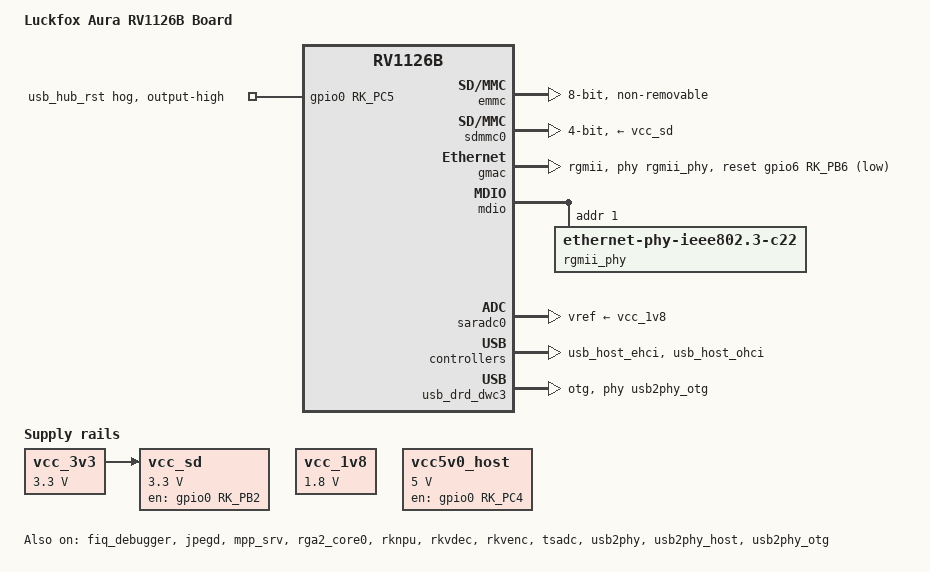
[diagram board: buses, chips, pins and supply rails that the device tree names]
// SPDX-License-Identifier: (GPL-2.0+ OR MIT)
/*
 * Luckfox Aura (RV1126B) 开发板
 *
 * 用途:验证 RV1126B 软件栈,不是出货版型。
 * 依据:Luckfox 公开的原理图(外设页),SoC 与电源页官方未公开,故电源树按固定电压写。
 * 本文件不 include EVB dtsi:EVB 带 RK801 PMIC 与摄像头/显示外设,本板没有。
 *
 * 已开:串口/eMMC/SD/网口/USB,及 SoC 内部的 NPU/MPP 编解码/JPEG/RGA/温控;
 * 未配:WiFi(SDMMC1)、音频、MIPI CSI/DSI、PoE,CPU/NPU 调频(缺电源页,不知调压方式)。
 * 板载 eMMC 64GB(官网规格,画在未公开的 SoC 页上)为系统盘,MicroSD 为扩展;无 SATA、无 USB3。
 */

/dts-v1/;

#include "rv1126b.dtsi"

/ {
	model = "Luckfox Aura RV1126B Board";
	compatible = "luckfox,aura", "rockchip,rv1126b";

	chosen {
		bootargs = "earlycon=uart8250,mmio32,0x20810000 console=ttyFIQ0 rw root=PARTUUID=614e0000-0000 rootfstype=ext4 rootwait coherent_pool=32K";
	};

	vcc_3v3: vcc-3v3-regulator {
		compatible = "regulator-fixed";
		regulator-name = "vcc_3v3";
		regulator-always-on;
		regulator-boot-on;
		regulator-min-microvolt = <3300000>;
		regulator-max-microvolt = <3300000>;
	};

	vcc_1v8: vcc-1v8-regulator {
		compatible = "regulator-fixed";
		regulator-name = "vcc_1v8";
		regulator-always-on;
		regulator-boot-on;
		regulator-min-microvolt = <1800000>;
		regulator-max-microvolt = <1800000>;
	};

	/* SDMMC0_PWREN_H(GPIO0_B2)经 PMOS 给卡槽供 VCC_SD_S0 */
	vcc_sd: vcc-sd-regulator {
		compatible = "regulator-fixed";
		regulator-name = "vcc_sd";
		gpio = <&gpio0 RK_PB2 GPIO_ACTIVE_HIGH>;
		enable-active-high;
		regulator-min-microvolt = <3300000>;
		regulator-max-microvolt = <3300000>;
		vin-supply = <&vcc_3v3>;
	};

	/* USB2_PWR(GPIO0_C4)使能 DIO7003 负载开关,给 CH334F hub 的下游口供 5V */
	vcc5v0_host: vcc5v0-host-regulator {
		compatible = "regulator-fixed";
		regulator-name = "vcc5v0_host";
		gpio = <&gpio0 RK_PC4 GPIO_ACTIVE_HIGH>;
		enable-active-high;
		regulator-min-microvolt = <5000000>;
		regulator-max-microvolt = <5000000>;
	};
};

/* CH334F hub 复位(GPIO0_C5),拉高解复位。极性待实测确认 */
&gpio0 {
	usb_hub_rst_hog {
		gpio-hog;
		gpios = <RK_PC5 GPIO_ACTIVE_HIGH>;
		output-high;
		line-name = "usb_hub_rst";
	};
};

/* 照搬官方 EVB1 V10;eMMC 所在页未公开,IO 电压未知,HS200 调谐失败时先去掉 mmc-hs200-1_8v */
&emmc {
	bus-width = <8>;
	cap-mmc-highspeed;
	non-removable;
	mmc-hs200-1_8v;
	rockchip,default-sample-phase = <90>;
	no-sdio;
	no-sd;
	status = "okay";
};

&fiq_debugger {
	pinctrl-names = "default";
	pinctrl-0 = <&uart0m2_xfer_pins>;
	status = "okay";
};

/* 调试口在 GPIO0_B3/B4(uart0 的 m2 组);SoC 默认的 m0 组在 GPIO2_A0/A1,与 SD 卡冲突 */
&uart0 {
	pinctrl-0 = <&uart0m2_xfer_pins>;
};

&sdmmc0 {
	bus-width = <4>;
	cap-sd-highspeed;
	disable-wp;
	no-sdio;
	no-mmc;
	/* 卡槽 IO 固定 3.3V,无 1.8V 切换,故不开 UHS */
	max-frequency = <50000000>;
	vmmc-supply = <&vcc_sd>;
	pinctrl-names = "default";
	pinctrl-0 = <&sdmmc0_clk_pins &sdmmc0_cmd_pins &sdmmc0_bus4_pins &sdmmc0_detn_pins>;
	status = "okay";
};

&gmac {
	phy-mode = "rgmii";
	/* 25MHz 由 SoC 输出给 PHY(原理图 ETH_CLK1_25M_OUT_M0 → PHY XTAL_IN) */
	clock_in_out = "output";
	assigned-clocks = <&cru CLK_MAC_OUT2IO>;
	assigned-clock-rates = <25000000>;

	snps,reset-gpio = <&gpio6 RK_PB6 GPIO_ACTIVE_LOW>;
	snps,reset-active-low;
	snps,reset-delays-us = <0 20000 100000>;

	pinctrl-names = "default";
	pinctrl-0 = <&ethm0_miim_pins
		     &ethm0_tx_bus2_pins
		     &ethm0_rx_bus2_pins
		     &ethm0_rgmii_clk_pins
		     &ethm0_rgmii_bus_pins
		     &eth_clk_25mm0_out_pins>;

	/*
	 * phy_lb_scan 千兆环回扫描实测:主窗口 RX 0x18~0x2d、TX 0x19~0x66,取几何中心。
	 * 不用工具打印的推荐值 0x46/0x38:它对所有通过点求平均,本板通过区是两块分开的岛
	 * (另一块在 RX 0x44 以上、TX 两端绕回),平均值落在空白区,实测不通过。
	 * 原先借用的 EVB 值 0x36/0x2c 的 RX 贴着窗口下沿,千兆大包丢包 25%
	 */
	tx_delay = <0x3f>;
	rx_delay = <0x22>;

	phy-handle = <&rgmii_phy>;
	status = "okay";
};

&mdio {
	/*
	 * 实测 PHY ID 0x7b744412,寄存器布局与 RTL8211F 兼容(31 号页寄存器读出 0xa42),
	 * 内核与官方 SDK 均无专用驱动,走 Generic PHY。地址由 strap 定,原理图标注默认 3'b001。
	 * clocks 必须给:PHY 的 25MHz 由 SoC 输出,没人引用这个时钟会在启动后期被关掉,
	 * 表现为 PHY ID 能读(MDIO 不依赖它)但永远 NO-CARRIER、收不到对端协商
	 */
	rgmii_phy: ethernet-phy@1 {
		compatible = "ethernet-phy-ieee802.3-c22";
		reg = <1>;
		clocks = <&cru CLK_MAC_OUT2IO>;
	};
};

&saradc0 {
	vref-supply = <&vcc_1v8>;
	status = "okay";
};

/* 以下为 SoC 内部的编解码、NPU、RGA 与温控,照官方 EVB 开启,不依赖板级外设 */
&jpegd {
	status = "okay";
};

&mpp_srv {
	status = "okay";
};

&rga2_core0 {
	status = "okay";
};

&rga2_core0_mmu {
	status = "okay";
};

/*
 * EVB 的 rknpu-supply 来自 RK801 PMIC,本板没有 PMIC 且电源页未公开,故不设。
 * 驱动按可选电源处理(缺失时 vdd 置空继续),代价是没有 NPU 调频
 */
&rknpu {
	status = "okay";
};

&rknpu_mmu {
	status = "okay";
};

&rkvdec {
	status = "okay";
};

&rkvdec_mmu {
	status = "okay";
};

&rkvenc {
	status = "okay";
};

&rkvenc_mmu {
	status = "okay";
};

/* 过温保护 hw-tshut-mode 为 CRU 复位(SoC dtsi 默认),不走 GPIO,不依赖 PMIC */
&tsadc {
	status = "okay";
};

&usb2phy {
	status = "okay";
};

&usb2phy_host {
	phy-supply = <&vcc5v0_host>;
	status = "okay";
};

&usb2phy_otg {
	status = "okay";
};

&usb_host_ehci {
	status = "okay";
};

&usb_host_ohci {
	status = "okay";
};

/* USB-C OTG;板上未引出 USB3,限高速。SoC 默认同时依赖 usb3phy,不去掉会一直 deferred probe */
&usb_drd_dwc3 {
	dr_mode = "otg";
	phys = <&usb2phy_otg>;
	phy-names = "usb2-phy";
	maximum-speed = "high-speed";
	extcon = <&usb2phy>;
	status = "okay";
};
